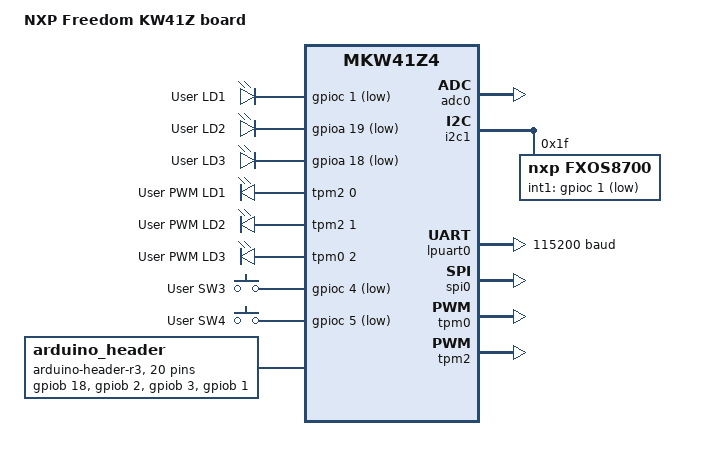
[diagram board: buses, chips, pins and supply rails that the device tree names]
/* SPDX-License-Identifier: Apache-2.0 */

/dts-v1/;

#include <nxp/nxp_kw41z.dtsi>
#include "frdm_kw41z-pinctrl.dtsi"

/ {
	model = "NXP Freedom KW41Z board";
	compatible = "nxp,kw41z", "nxp,mkw41z4";

	aliases {
		led0 = &green_led;
		led1 = &blue_led;
		led2 = &red_led;
		sw0 = &user_button_3;
		sw1 = &user_button_4;
		pwm-led0 = &blue_pwm_led;
		pwm-led1 = &green_pwm_led;
		pwm-led2 = &red_pwm_led;
		blue-pwm-led = &blue_pwm_led;
		green-pwm-led = &green_pwm_led;
		red-pwm-led = &red_pwm_led;
	};

	chosen {
		zephyr,sram = &sram0;
		zephyr,flash = &flash0;
		zephyr,console = &lpuart0;
		zephyr,shell-uart = &lpuart0;
	};

	leds {
		compatible = "gpio-leds";
		red_led: led_0 {
			gpios = <&gpioc 1 GPIO_ACTIVE_LOW>;
			label = "User LD1";
		};
		green_led: led_1 {
			gpios = <&gpioa 19 GPIO_ACTIVE_LOW>;
			label = "User LD2";
		};
		blue_led: led_2 {
			gpios = <&gpioa 18 GPIO_ACTIVE_LOW>;
			label = "User LD3";
		};
	};

	pwmleds {
		compatible = "pwm-leds";
		blue_pwm_led: pwm_led_0 {
			pwms = <&tpm2 0 PWM_MSEC(20) PWM_POLARITY_INVERTED>;
			label = "User PWM LD1";
		};
		green_pwm_led: pwm_led_1 {
			pwms = <&tpm2 1 PWM_MSEC(20) PWM_POLARITY_INVERTED>;
			label = "User PWM LD2";
		};
		red_pwm_led: pwm_led_2 {
			pwms = <&tpm0 2 PWM_MSEC(20) PWM_POLARITY_INVERTED>;
			label = "User PWM LD3";
		};
	};

	gpio_keys {
		compatible = "gpio-keys";
		user_button_3: button_0 {
			label = "User SW3";
			gpios = <&gpioc 4 GPIO_ACTIVE_LOW>;
		};
		user_button_4: button_1 {
			label = "User SW4";
			gpios = <&gpioc 5 GPIO_ACTIVE_LOW>;
		};
	};

	arduino_header: connector {
		compatible = "arduino-header-r3";
		#gpio-cells = <2>;
		gpio-map-mask = <0xffffffff 0xffffffc0>;
		gpio-map-pass-thru = <0 0x3f>;
		gpio-map = /* A0 cannot be muxed as gpio */
			   <1 0 &gpiob 18 0>,	/* A1 */
			   <2 0 &gpiob 2 0>,	/* A2 */
			   <3 0 &gpiob 3 0>,	/* A3 */
			   <4 0 &gpiob 1 0>,	/* A4 */
			   <6 0 &gpioc 6 0>,	/* D0 */
			   <7 0 &gpioc 7 0>,	/* D1 */
			   <8 0 &gpioc 19 0>,	/* D2 */
			   <9 0 &gpioc 16 0>,	/* D3 */
			   <10 0 &gpioc 4 0>,	/* D4 */
			   <11 0 &gpioc 17 0>,	/* D5 */
			   <12 0 &gpioc 18 0>,	/* D6 */
			   <13 0 &gpioa 1 0>,	/* D7 */
			   <14 0 &gpioa 0 0>,	/* D8 */
			   <15 0 &gpioc 1 0>,	/* D9 */
			   <16 0 &gpioa 19 0>,	/* D10 */
			   <17 0 &gpioa 16 0>,	/* D11 */
			   <18 0 &gpioa 17 0>,	/* D12 */
			   <19 0 &gpioa 18 0>,	/* D13 */
			   <20 0 &gpioc 3 0>,	/* D14 */
			   <21 0 &gpioc 2 0>;	/* D15 */
	};
};

&sim {
	pllfll-select = <KINETIS_SIM_PLLFLLSEL_MCGPLLCLK>;
	er32k-select = <KINETIS_SIM_ER32KSEL_OSC32KCLK>;
};

&adc0 {
	status = "okay";
	pinctrl-0 = <&adc0_default>;
	pinctrl-names = "default";
};

&i2c1 {
	status = "okay";
	pinctrl-0 = <&i2c1_default>;
	pinctrl-names = "default";

	fxos8700@1f {
		compatible = "nxp,fxos8700";
		reg = <0x1f>;
		label = "FXOS8700";
		int1-gpios = <&gpioc 1 GPIO_ACTIVE_LOW>;
	};
};

&lpuart0 {
	status = "okay";
	pinctrl-0 = <&lpuart0_default>;
	pinctrl-names = "default";
	current-speed = <115200>;
};

&gpioa {
	status = "okay";
};

&gpioc {
	status = "okay";
};

&spi0 {
	status = "okay";
	pinctrl-0 = <&spi0_default>;
	pinctrl-names = "default";
};

&tpm0 {
	status = "okay";
	pinctrl-0 = <&tpm0_default>;
	pinctrl-names = "default";
};

&tpm1 {
	status = "disabled";
};

&tpm2 {
	status = "okay";
	pinctrl-0 = <&tmp2_default>;
	pinctrl-names = "default";
};
